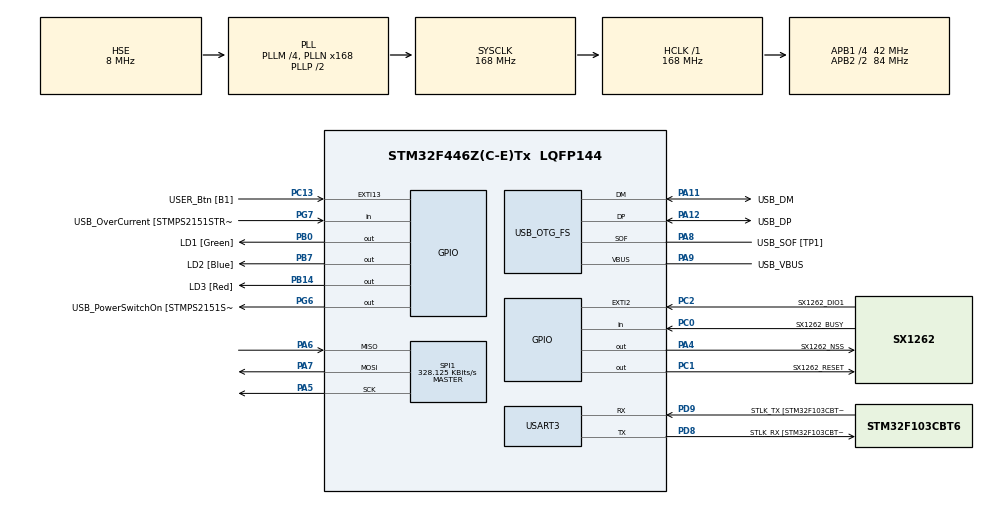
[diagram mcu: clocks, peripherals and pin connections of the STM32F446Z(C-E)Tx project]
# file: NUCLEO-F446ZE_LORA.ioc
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Mcu.Family=STM32F4
Mcu.Name=STM32F446Z(C-E)Tx
Mcu.Package=LQFP144
NVIC.PriorityGroup=NVIC_PRIORITYGROUP_4
PA10.GPIO_Label=USB_ID
PA10.Signal=USB_OTG_FS_ID
PA11.GPIO_Label=USB_DM
PA11.Mode=Device_Only
PA11.Signal=USB_OTG_FS_DM
PA12.GPIO_Label=USB_DP
PA12.Mode=Device_Only
PA12.Signal=USB_OTG_FS_DP
PA13.GPIO_Label=TMS
PA13.Mode=Serial_Wire
PA13.Signal=SYS_JTMS-SWDIO
PA14.GPIO_Label=TCK
PA14.Mode=Serial_Wire
PA14.Signal=SYS_JTCK-SWCLK
PA4.GPIO_Label=SX1262_NSS
PA4.Signal=GPIO_Output
PA5.Mode=Full_Duplex_Master
PA5.Signal=SPI1_SCK
PA6.Mode=Full_Duplex_Master
PA6.Signal=SPI1_MISO
PA7.Mode=Full_Duplex_Master
PA7.Signal=SPI1_MOSI
PA8.GPIO_Label=USB_SOF [TP1]
PA8.Mode=Activate_SOF_FS
PA8.Signal=USB_OTG_FS_SOF
PA9.GPIO_Label=USB_VBUS
PA9.Mode=Activate_VBUS
PA9.Signal=USB_OTG_FS_VBUS
PB0.GPIO_Label=LD1 [Green]
PB0.Signal=GPIO_Output
PB14.GPIO_Label=LD3 [Red]
PB14.Signal=GPIO_Output
PB7.GPIO_Label=LD2 [Blue]
PB7.Signal=GPIO_Output
PC0.GPIO_Label=SX1262_BUSY
PC0.Signal=GPIO_Input
PC1.GPIO_Label=SX1262_RESET
PC1.Signal=GPIO_Output
PC13.GPIO_Label=USER_Btn [B1]
PC13.Signal=GPXTI13
PC14-OSC32_IN.Mode=LSE-External-Oscillator
PC14-OSC32_IN.Signal=RCC_OSC32_IN
PC15-OSC32_OUT.Mode=LSE-External-Oscillator
PC15-OSC32_OUT.Signal=RCC_OSC32_OUT
PC2.GPIO_Label=SX1262_DIO1
PC2.Signal=GPXTI2
PD8.GPIO_Label=STLK_RX [STM32F103CBT6_PA3]
PD8.Mode=Asynchronous
PD8.Signal=USART3_TX
PD9.GPIO_Label=STLK_TX [STM32F103CBT6_PA2]
PD9.Mode=Asynchronous
PD9.Signal=USART3_RX
PG6.GPIO_Label=USB_PowerSwitchOn [STMPS2151STR_EN]
PG6.Signal=GPIO_Output
PG7.GPIO_Label=USB_OverCurrent [STMPS2151STR_FAULT]
PG7.Signal=GPIO_Input
PH0-OSC_IN.GPIO_Label=MCO [STM32F103CBT6_PA8]
PH0-OSC_IN.Mode=HSE-External-Clock-Source
PH0-OSC_IN.Signal=RCC_OSC_IN
PH1-OSC_OUT.Mode=HSE-External-Clock-Source
PH1-OSC_OUT.Signal=RCC_OSC_OUT
ProjectManager.HeapSize=0x200
ProjectManager.StackSize=0x400
ProjectManager.TargetToolchain=STM32CubeIDE
RCC.48MHZClocksFreq_Value=24000000
RCC.AHBFreq_Value=168000000
RCC.APB1CLKDivider=RCC_HCLK_DIV4
RCC.APB1Freq_Value=42000000
RCC.APB1TimFreq_Value=84000000
RCC.APB2CLKDivider=RCC_HCLK_DIV2
RCC.APB2Freq_Value=84000000
RCC.APB2TimFreq_Value=168000000
RCC.CortexFreq_Value=168000000
RCC.HCLKFreq_Value=168000000
RCC.HSE_VALUE=8000000
RCC.HSI_VALUE=16000000
RCC.PLLM=4
RCC.PLLMUL=RCC_PLL_MUL9
RCC.PLLN=168
RCC.PLLQ=7
RCC.PRESCALERUSB=RCC_USBCLKSOURCE_PLL_DIV1_5
RCC.SYSCLKFreq_VALUE=168000000
RCC.SYSCLKSource=RCC_SYSCLKSOURCE_PLLCLK
RCC.SYSCLKSourceVirtual=RCC_SYSCLKSOURCE_PLLCLK
RCC.USBFreq_Value=48000000
RCC.VCOOutputFreq_Value=336000000
SPI1.BaudRatePrescaler=SPI_BAUDRATEPRESCALER_256
SPI1.CalculateBaudRate=328.125 KBits/s
SPI1.Direction=SPI_DIRECTION_2LINES
SPI1.Mode=SPI_MODE_MASTER
SPI1.VirtualType=VM_MASTER
USART3.VirtualMode=VM_ASYNC
USB_OTG_FS.VirtualMode=Device_Only
board=NUCLEO-F446ZE

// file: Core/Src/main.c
/* USER CODE BEGIN Header */
/**
  ******************************************************************************
  * @file           : main.c
  * @brief          : Main program body
  ******************************************************************************
  * @attention
  *
  * Copyright (c) 2026 STMicroelectronics.
  * All rights reserved.
  *
  * This software is licensed under terms that can be found in the LICENSE file
  * in the root directory of this software component.
  * If no LICENSE file comes with this software, it is provided AS-IS.
  *
  ******************************************************************************
  */
/* USER CODE END Header */
#include "main.h"

/* USER CODE BEGIN Includes */
#include "sx126x.h"
#include "sx126x_hal.h"
#include <string.h>
#include "misc_sx126x.h"
/* USER CODE END Includes */

SPI_HandleTypeDef hspi1;

UART_HandleTypeDef huart3;

PCD_HandleTypeDef hpcd_USB_OTG_FS;

void SystemClock_Config(void);
static void MX_GPIO_Init(void);
static void MX_USART3_UART_Init(void);
static void MX_USB_OTG_FS_PCD_Init(void);
static void MX_SPI1_Init(void);

/* USER CODE BEGIN 0 */
void uart_print(char *msg)
{
    HAL_UART_Transmit(
            &huart3,
            (uint8_t*)msg,
            strlen(msg),
            HAL_MAX_DELAY);
}
/* USER CODE END 0 */

int main(void)
{

  /* MCU Configuration--------------------------------------------------------*/

  /* Reset of all peripherals, Initializes the Flash interface and the Systick. */
  HAL_Init();

  /* Configure the system clock */
  SystemClock_Config();

  /* Initialize all configured peripherals */
  MX_GPIO_Init();
  MX_USART3_UART_Init();
  MX_USB_OTG_FS_PCD_Init();
  MX_SPI1_Init();
  /* USER CODE BEGIN 2 */
  HAL_NVIC_SetPriority(EXTI2_IRQn, 0, 0);
    HAL_NVIC_EnableIRQ(EXTI2_IRQn);

    if(misc_sx126x_init(SX126X_LORA_SF9))
    {
        uart_print("SX1262 INIT OK\r\n");
    }
    else
    {
        uart_print("SX1262 INIT FAIL\r\n");
    }
  /* USER CODE END 2 */

  /* Infinite loop */
  while (1)
  {

    /* USER CODE BEGIN 3 */
	  HAL_GPIO_TogglePin(
	          LD1_GPIO_Port,
	          LD1_Pin);

          HAL_Delay (500) ;

	  static uint32_t last_tick = 0;
	  if(HAL_GPIO_ReadPin(
	          SX1262_DIO1_GPIO_Port,
	          SX1262_DIO1_Pin))
	  {
	      uart_print("DIO1 HIGH\r\n");
	  }

	  if(HAL_GetTick() - last_tick > 5000)
	  {
	      uint8_t msg[] = "HELLO";

	      if(misc_sx126x_transmit(
	              msg,
	              sizeof(msg)-1,
	              5000))
	      {
	          uart_print("TX START\r\n");
	      }
	      else
	      {
	          uart_print("TX FAIL\r\n");
	      }

	      last_tick = HAL_GetTick();
	  }
  }
  /* USER CODE END 3 */

}

void SystemClock_Config(void)
{
  RCC_OscInitTypeDef RCC_OscInitStruct = {0};
  RCC_ClkInitTypeDef RCC_ClkInitStruct = {0};

  /** Configure the main internal regulator output voltage
  */
  __HAL_RCC_PWR_CLK_ENABLE();
  __HAL_PWR_VOLTAGESCALING_CONFIG(PWR_REGULATOR_VOLTAGE_SCALE1);

  /** Initializes the RCC Oscillators according to the specified parameters
  * in the RCC_OscInitTypeDef structure.
  */
  RCC_OscInitStruct.OscillatorType = RCC_OSCILLATORTYPE_HSE;
  RCC_OscInitStruct.HSEState = RCC_HSE_BYPASS;
  RCC_OscInitStruct.PLL.PLLState = RCC_PLL_ON;
  RCC_OscInitStruct.PLL.PLLSource = RCC_PLLSOURCE_HSE;
  RCC_OscInitStruct.PLL.PLLM = 4;
  RCC_OscInitStruct.PLL.PLLN = 168;
  RCC_OscInitStruct.PLL.PLLP = RCC_PLLP_DIV2;
  RCC_OscInitStruct.PLL.PLLQ = 7;
  RCC_OscInitStruct.PLL.PLLR = 2;
  if (HAL_RCC_OscConfig(&RCC_OscInitStruct) != HAL_OK)
  {
    Error_Handler();
  }

  /** Initializes the CPU, AHB and APB buses clocks
  */
  RCC_ClkInitStruct.ClockType = RCC_CLOCKTYPE_HCLK|RCC_CLOCKTYPE_SYSCLK
                              |RCC_CLOCKTYPE_PCLK1|RCC_CLOCKTYPE_PCLK2;
  RCC_ClkInitStruct.SYSCLKSource = RCC_SYSCLKSOURCE_PLLCLK;
  RCC_ClkInitStruct.AHBCLKDivider = RCC_SYSCLK_DIV1;
  RCC_ClkInitStruct.APB1CLKDivider = RCC_HCLK_DIV4;
  RCC_ClkInitStruct.APB2CLKDivider = RCC_HCLK_DIV2;

  if (HAL_RCC_ClockConfig(&RCC_ClkInitStruct, FLASH_LATENCY_5) != HAL_OK)
  {
    Error_Handler();
  }
}

static void MX_SPI1_Init(void)
{

  /* SPI1 parameter configuration*/
  hspi1.Instance = SPI1;
  hspi1.Init.Mode = SPI_MODE_MASTER;
  hspi1.Init.Direction = SPI_DIRECTION_2LINES;
  hspi1.Init.DataSize = SPI_DATASIZE_8BIT;
  hspi1.Init.CLKPolarity = SPI_POLARITY_LOW;
  hspi1.Init.CLKPhase = SPI_PHASE_1EDGE;
  hspi1.Init.NSS = SPI_NSS_SOFT;
  hspi1.Init.BaudRatePrescaler = SPI_BAUDRATEPRESCALER_256;
  hspi1.Init.FirstBit = SPI_FIRSTBIT_MSB;
  hspi1.Init.TIMode = SPI_TIMODE_DISABLE;
  hspi1.Init.CRCCalculation = SPI_CRCCALCULATION_DISABLE;
  hspi1.Init.CRCPolynomial = 10;
  if (HAL_SPI_Init(&hspi1) != HAL_OK)
  {
    Error_Handler();
  }

}

static void MX_USART3_UART_Init(void)
{

  huart3.Instance = USART3;
  huart3.Init.BaudRate = 115200;
  huart3.Init.WordLength = UART_WORDLENGTH_8B;
  huart3.Init.StopBits = UART_STOPBITS_1;
  huart3.Init.Parity = UART_PARITY_NONE;
  huart3.Init.Mode = UART_MODE_TX_RX;
  huart3.Init.HwFlowCtl = UART_HWCONTROL_NONE;
  huart3.Init.OverSampling = UART_OVERSAMPLING_16;
  if (HAL_UART_Init(&huart3) != HAL_OK)
  {
    Error_Handler();
  }

}

static void MX_USB_OTG_FS_PCD_Init(void)
{

  hpcd_USB_OTG_FS.Instance = USB_OTG_FS;
  hpcd_USB_OTG_FS.Init.dev_endpoints = 6;
  hpcd_USB_OTG_FS.Init.speed = PCD_SPEED_FULL;
  hpcd_USB_OTG_FS.Init.dma_enable = DISABLE;
  hpcd_USB_OTG_FS.Init.phy_itface = PCD_PHY_EMBEDDED;
  hpcd_USB_OTG_FS.Init.Sof_enable = ENABLE;
  hpcd_USB_OTG_FS.Init.low_power_enable = DISABLE;
  hpcd_USB_OTG_FS.Init.lpm_enable = DISABLE;
  hpcd_USB_OTG_FS.Init.vbus_sensing_enable = ENABLE;
  hpcd_USB_OTG_FS.Init.use_dedicated_ep1 = DISABLE;
  if (HAL_PCD_Init(&hpcd_USB_OTG_FS) != HAL_OK)
  {
    Error_Handler();
  }

}

static void MX_GPIO_Init(void)
{
  GPIO_InitTypeDef GPIO_InitStruct = {0};

  /* GPIO Ports Clock Enable */
  __HAL_RCC_GPIOC_CLK_ENABLE();
  __HAL_RCC_GPIOH_CLK_ENABLE();
  __HAL_RCC_GPIOA_CLK_ENABLE();
  __HAL_RCC_GPIOB_CLK_ENABLE();
  __HAL_RCC_GPIOD_CLK_ENABLE();
  __HAL_RCC_GPIOG_CLK_ENABLE();

  /*Configure GPIO pin Output Level */
  HAL_GPIO_WritePin(SX1262_RESET_GPIO_Port, SX1262_RESET_Pin, GPIO_PIN_RESET);

  /*Configure GPIO pin Output Level */
  HAL_GPIO_WritePin(SX1262_NSS_GPIO_Port, SX1262_NSS_Pin, GPIO_PIN_SET);

  /*Configure GPIO pin Output Level */
  HAL_GPIO_WritePin(GPIOB, LD1_Pin|LD3_Pin|LD2_Pin, GPIO_PIN_RESET);

  /*Configure GPIO pin Output Level */
  HAL_GPIO_WritePin(USB_PowerSwitchOn_GPIO_Port, USB_PowerSwitchOn_Pin, GPIO_PIN_RESET);

  /*Configure GPIO pins : USER_Btn_Pin SX1262_DIO1_Pin */
  GPIO_InitStruct.Pin = USER_Btn_Pin|SX1262_DIO1_Pin;
  GPIO_InitStruct.Mode = GPIO_MODE_IT_RISING;
  GPIO_InitStruct.Pull = GPIO_NOPULL;
  HAL_GPIO_Init(GPIOC, &GPIO_InitStruct);

  /*Configure GPIO pin : SX1262_BUSY_Pin */
  GPIO_InitStruct.Pin = SX1262_BUSY_Pin;
  GPIO_InitStruct.Mode = GPIO_MODE_INPUT;
  GPIO_InitStruct.Pull = GPIO_NOPULL;
  HAL_GPIO_Init(SX1262_BUSY_GPIO_Port, &GPIO_InitStruct);

  /*Configure GPIO pin : SX1262_RESET_Pin */
  GPIO_InitStruct.Pin = SX1262_RESET_Pin;
  GPIO_InitStruct.Mode = GPIO_MODE_OUTPUT_PP;
  GPIO_InitStruct.Pull = GPIO_NOPULL;
  GPIO_InitStruct.Speed = GPIO_SPEED_FREQ_LOW;
  HAL_GPIO_Init(SX1262_RESET_GPIO_Port, &GPIO_InitStruct);

  /*Configure GPIO pin : SX1262_NSS_Pin */
  GPIO_InitStruct.Pin = SX1262_NSS_Pin;
  GPIO_InitStruct.Mode = GPIO_MODE_OUTPUT_PP;
  GPIO_InitStruct.Pull = GPIO_NOPULL;
  GPIO_InitStruct.Speed = GPIO_SPEED_FREQ_LOW;
  HAL_GPIO_Init(SX1262_NSS_GPIO_Port, &GPIO_InitStruct);

  /*Configure GPIO pins : LD1_Pin LD3_Pin LD2_Pin */
  GPIO_InitStruct.Pin = LD1_Pin|LD3_Pin|LD2_Pin;
  GPIO_InitStruct.Mode = GPIO_MODE_OUTPUT_PP;
  GPIO_InitStruct.Pull = GPIO_NOPULL;
  GPIO_InitStruct.Speed = GPIO_SPEED_FREQ_LOW;
  HAL_GPIO_Init(GPIOB, &GPIO_InitStruct);

  /*Configure GPIO pin : USB_PowerSwitchOn_Pin */
  GPIO_InitStruct.Pin = USB_PowerSwitchOn_Pin;
  GPIO_InitStruct.Mode = GPIO_MODE_OUTPUT_PP;
  GPIO_InitStruct.Pull = GPIO_NOPULL;
  GPIO_InitStruct.Speed = GPIO_SPEED_FREQ_LOW;
  HAL_GPIO_Init(USB_PowerSwitchOn_GPIO_Port, &GPIO_InitStruct);

  /*Configure GPIO pin : USB_OverCurrent_Pin */
  GPIO_InitStruct.Pin = USB_OverCurrent_Pin;
  GPIO_InitStruct.Mode = GPIO_MODE_INPUT;
  GPIO_InitStruct.Pull = GPIO_NOPULL;
  HAL_GPIO_Init(USB_OverCurrent_GPIO_Port, &GPIO_InitStruct);

}

/* USER CODE BEGIN 4 */
void HAL_GPIO_EXTI_Callback(
        uint16_t GPIO_Pin)
{
    if(GPIO_Pin == SX1262_DIO1_Pin)
    {
        misc_sx126x_irq_cb();
    }
}
/* USER CODE END 4 */

void Error_Handler(void)
{
  __disable_irq();
  while (1)
  {
  }
}
